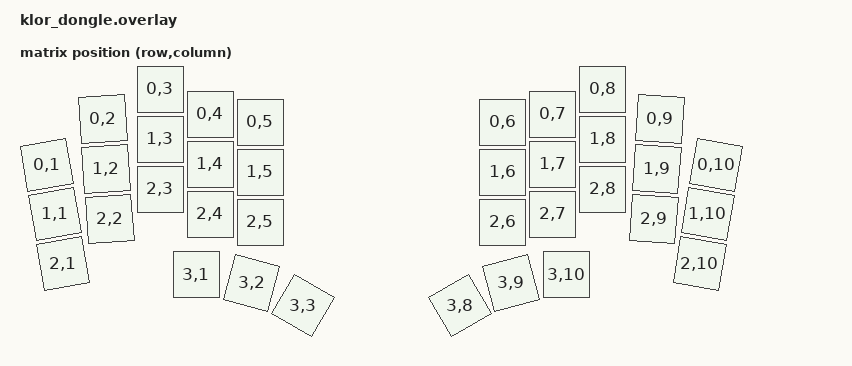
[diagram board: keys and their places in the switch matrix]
/*
 * Copyright (c) 2022 GEIST
 *
 * SPDX-License-Identifier: MIT
 */

#include <dt-bindings/zmk/matrix_transform.h>
#include <physical_layouts.dtsi>

/* &physical_layout0 {
*    transform = <&default_transform>;
*};
*/

/ {
    chosen {
        zmk,kscan = &mock_kscan;
        zmk,physical-layout = &physical_layout0;
    };

    physical_layout0: physical_layout_0 {
        compatible = "zmk,physical-layout";
        display-name = "Default Layout";
        transform = <&default_transform>;
        keys //                     w   h    x    y     rot    rx    ry
            = <&key_physical_attrs 100 100  73    152   (-1000)    123     202>
            , <&key_physical_attrs 100 100  186   60    (-400)     236     110>
            , <&key_physical_attrs 100 100  300   0     0     0     0>
            , <&key_physical_attrs 100 100  400   50    0     0     0>
            , <&key_physical_attrs 100 100  500   66    0     0     0>
            , <&key_physical_attrs 100 100  985   66    0     0     0>
            , <&key_physical_attrs 100 100  1085  50    0     0     0>
            , <&key_physical_attrs 100 100  1185  0    0     0     0>
            , <&key_physical_attrs 100 100  1300  60    400     1350     110>
            , <&key_physical_attrs 100 100 1412   152   1000     1462     202>

            , <&key_physical_attrs 100 100  90  250     (-1000) 140    300>
            , <&key_physical_attrs 100 100  192  160       (-400)     242     210>
            , <&key_physical_attrs 100 100  300  100       0     0     0>
            , <&key_physical_attrs 100 100  400  150       0     0     0>
            , <&key_physical_attrs 100 100  500  166       0     0     0>
            , <&key_physical_attrs 100 100  985  166       0     0     0>
            , <&key_physical_attrs 100 100  1085 150       0     0     0>
            , <&key_physical_attrs 100 100  1185 100       0     0     0>
            , <&key_physical_attrs 100 100  1293 160       400     1343     210>
            , <&key_physical_attrs 100 100  1395 250       1000  1445  300>

            , <&key_physical_attrs 100 100  106  349       (-1000) 156    399>
            , <&key_physical_attrs 100 100  199  260       (-400)     249     310>
            , <&key_physical_attrs 100 100  300  200       0     0     0>
            , <&key_physical_attrs 100 100  400  250       0     0     0>
            , <&key_physical_attrs 100 100  500  266       0     0     0>
            , <&key_physical_attrs 100 100  985  266       0     0     0>
            , <&key_physical_attrs 100 100  1085  250       0     0     0>
            , <&key_physical_attrs 100 100  1185  200       0     0     0>
            , <&key_physical_attrs 100 100  1287  260       400     1337     310>
            , <&key_physical_attrs 100 100 1379  349       1000     1429     399>

            , <&key_physical_attrs 100 100  372  371       0     0     0>
            , <&key_physical_attrs 100 100  483  388       1500    533      438>
            , <&key_physical_attrs 100 100  585  433       3000     635     483>
            , <&key_physical_attrs 100 100  900  433       (-3000)     950     483>
            , <&key_physical_attrs 100 100  1002  388       (-1500)     1052     438>
            , <&key_physical_attrs 100 100  1113  371       0     0     0>
            ;
    };

    default_transform: keymap_transform_0 {
        compatible = "zmk,matrix-transform";
        columns = <12>;
        rows = <4>;
        map = <
            RC(0,1) RC(0,2) RC(0,3) RC(0,4) RC(0,5)                 RC(0,6) RC(0,7) RC(0,8) RC(0,9) RC(0,10)
            RC(1,1) RC(1,2) RC(1,3) RC(1,4) RC(1,5)                 RC(1,6) RC(1,7) RC(1,8) RC(1,9) RC(1,10)
            RC(2,1) RC(2,2) RC(2,3) RC(2,4) RC(2,5)                 RC(2,6) RC(2,7) RC(2,8) RC(2,9) RC(2,10)
                            RC(3,1) RC(3,2) RC(3,3)                 RC(3,8) RC(3,9) RC(3,10)
        >;
    };

    mock_kscan: mock_kscan_0 {
        compatible = "zmk,kscan-mock";
        columns = <0>;
        rows = <0>;
        events = <0>;
    };
};
